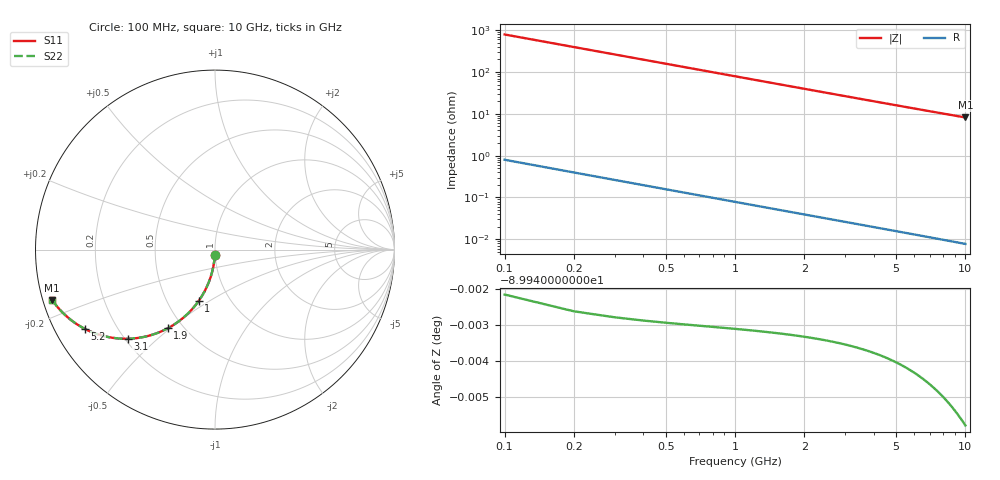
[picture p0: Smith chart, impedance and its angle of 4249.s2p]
# Hz S RI R 50.00
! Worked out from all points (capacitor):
!   100 points, 100 MHz to 10 GHz, reference 50 ohm
!   read as one part in shunt: C = 2.01 pF near 100 MHz
!   lowest |Z| = 8.2 ohm at 10 GHz (marker M1)
!   S11 on the Smith chart (normalised r, x): 100 MHz: 1.00, -0.06; 1 GHz: 0.72, -0.45; 1.9 GHz: 0.41, -0.49; 3.1 GHz: 0.21, -0.40; 5.2 GHz: 0.09, -0.28; 10 GHz: 0.03, -0.15
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1e8  -0.00102 -0.0315  0.999 -0.0317  0.999 -0.0317  -0.00102 -0.0315
2e8  -0.00403 -0.0628  0.9959 -0.0631  0.9959 -0.0631  -0.00403 -0.0628
3e8  -0.00898 -0.0937  0.991 -0.0942  0.991 -0.0942  -0.00898 -0.0937
4e8  -0.0158 -0.124  0.9841 -0.1247  0.9841 -0.1247  -0.0158 -0.124
5e8  -0.0245 -0.1536  0.9755 -0.1545  0.9755 -0.1545  -0.0245 -0.1536
6e8  -0.0348 -0.1824  0.9651 -0.1834  0.9651 -0.1834  -0.0348 -0.1824
7e8  -0.0468 -0.2101  0.9532 -0.2113  0.9532 -0.2113  -0.0468 -0.2101
8e8  -0.0602 -0.2367  0.9398 -0.238  0.9398 -0.238  -0.0602 -0.2367
1e9  -0.0908 -0.286  0.9092 -0.2877  0.9092 -0.2877  -0.0908 -0.286
1.2e9  -0.1256 -0.3299  0.8744 -0.3319  0.8744 -0.3319  -0.1256 -0.3299
1.4e9  -0.1634 -0.3681  0.8366 -0.3704  0.8366 -0.3704  -0.1634 -0.3681
1.8e9  -0.2436 -0.4273  0.7563 -0.4303  0.7563 -0.4303  -0.2436 -0.4273
1.9e9  -0.264 -0.4387  0.736 -0.4419  0.736 -0.4419  -0.264 -0.4387
2.5e9  -0.3824 -0.4834  0.6176 -0.4876  0.6176 -0.4876  -0.3824 -0.4834
3.1e9  -0.487 -0.4967  0.5129 -0.502  0.5129 -0.502  -0.487 -0.4967
3.4e9  -0.5328 -0.4955  0.4671 -0.5013  0.4671 -0.5013  -0.5328 -0.4955
4.2e9  -0.6344 -0.4775  0.3655 -0.4847  0.3655 -0.4847  -0.6344 -0.4775
5.1e9  -0.7185 -0.4448  0.2814 -0.4536  0.2814 -0.4536  -0.7185 -0.4448
5.2e9  -0.7262 -0.4409  0.2737 -0.4499  0.2737 -0.4499  -0.7262 -0.4409
6.7e9  -0.8145 -0.3823  0.1854 -0.394  0.1854 -0.394  -0.8145 -0.3823
8.4e9  -0.8734 -0.3246  0.1265 -0.3394  0.1265 -0.3394  -0.8734 -0.3246
1e10  -0.9072 -0.2806  0.0926 -0.2983  0.0926 -0.2983  -0.9072 -0.2806
